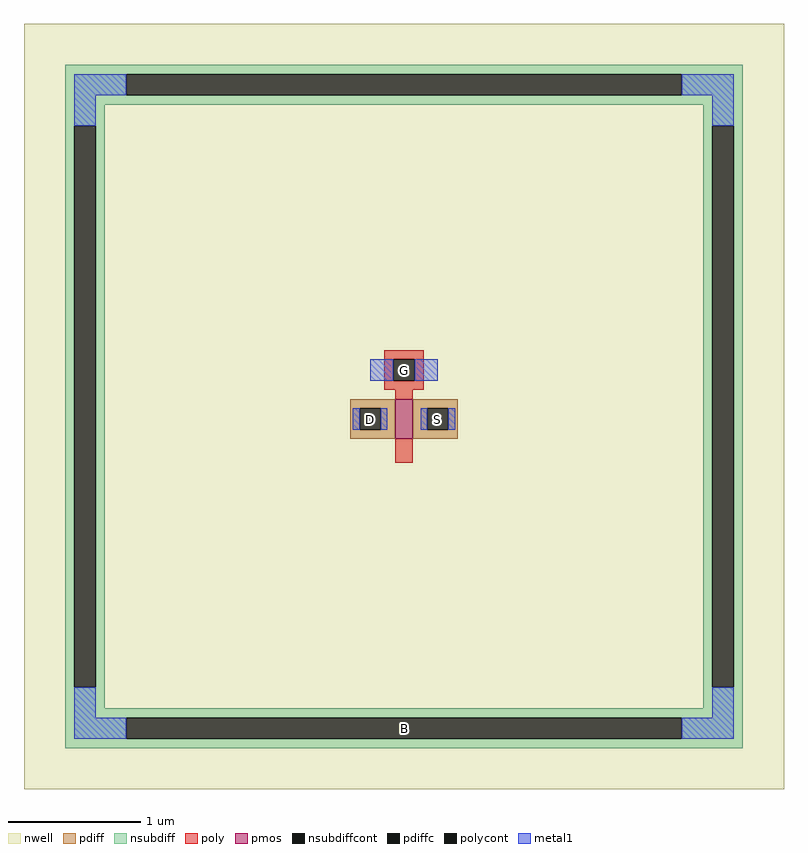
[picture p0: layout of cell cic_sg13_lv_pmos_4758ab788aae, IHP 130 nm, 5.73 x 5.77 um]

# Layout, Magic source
magic
tech ihp-sg13cmos5l
magscale 1 2
<< nwell >>
rect -573 -577 573 577
<< pmos >>
rect -13 -49 13 11
<< pdiff >>
rect -81 -3 -13 11
rect -81 -35 -67 -3
rect -35 -35 -13 -3
rect -81 -49 -13 -35
rect 13 -3 81 11
rect 13 -35 35 -3
rect 67 -35 81 -3
rect 13 -49 81 -35
<< pdiffc >>
rect -67 -35 -35 -3
rect 35 -35 67 -3
<< nsubdiff >>
rect -511 501 511 515
rect -511 469 -419 501
rect 419 469 511 501
rect -511 455 511 469
rect -511 423 -451 455
rect -511 -423 -497 423
rect -465 -423 -451 423
rect 451 423 511 455
rect -511 -455 -451 -423
rect 451 -423 465 423
rect 497 -423 511 423
rect 451 -455 511 -423
rect -511 -469 511 -455
rect -511 -501 -419 -469
rect 419 -501 511 -469
rect -511 -515 511 -501
<< nsubdiffcont >>
rect -419 469 419 501
rect -497 -423 -465 423
rect 465 -423 497 423
rect -419 -501 419 -469
<< poly >>
rect -30 71 30 85
rect -30 39 -16 71
rect 16 39 30 71
rect -30 25 30 39
rect -13 11 13 25
rect -13 -85 13 -49
<< polycont >>
rect -16 39 16 71
<< metal1 >>
rect -497 469 -419 501
rect 419 469 497 501
rect -497 423 -465 469
rect 465 423 497 469
rect -51 39 -16 71
rect 16 39 51 71
rect -77 -35 -67 -3
rect -35 -35 -25 -3
rect 25 -35 35 -3
rect 67 -35 77 -3
rect -497 -469 -465 -423
rect 465 -469 497 -423
rect -497 -501 -419 -469
rect 419 -501 497 -469
<< labels >>
rlabel nsubdiffcont 0 -485 0 -485 0 B
port 1 nsew
rlabel pdiffc -51 -19 -51 -19 0 D
port 2 nsew
rlabel pdiffc 51 -19 51 -19 0 S
port 3 nsew
rlabel polycont 0 55 0 55 0 G
port 4 nsew
<< properties >>
string FIXED_BBOX -481 -485 481 485
string gencell sg13_lv_pmos
string library sg13cmos5l
string parameters w 0.3 l 0.13 m 1 ng 1 diffcov 100 polycov 100 guard 1 glc 1 grc 1 gtc 1 gbc 1 tbcov 100 rlcov 100 topc 1 botc 0 poverlap 0 doverlap 1 lmin 0.13 wmin 0.15 class mosfet compatible {sg13_lv_pmos sg13_hv_pmos} full_metal 1 conn_gates 1 gate_ring 0 ccols 1 viasrc 0 viadrn 0 viagate 0 viagb 0 viagr 0 viagl 0 viagt 0 doports 1 set_x_to_guard 2.0 set_y_to_guard 2.0
<< end >>
